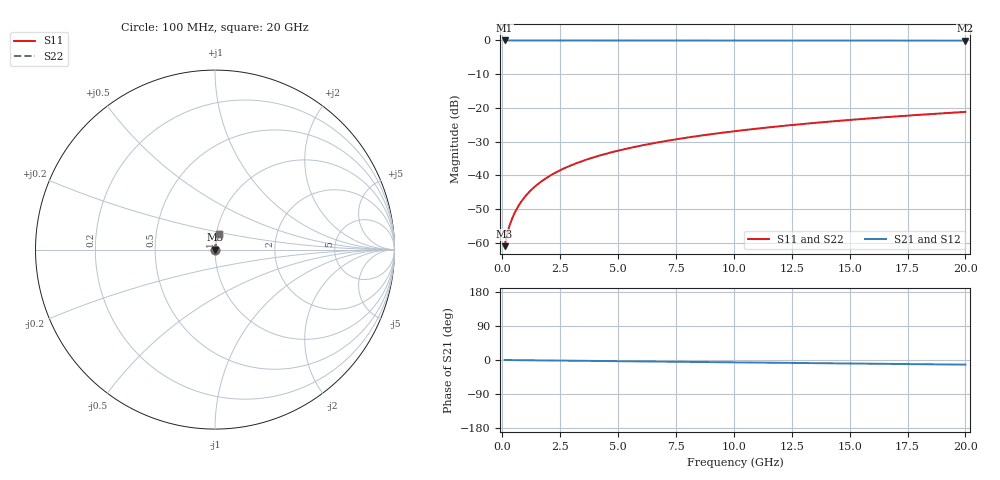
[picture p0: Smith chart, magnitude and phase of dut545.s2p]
! Touchstone file exported from HFSS 2026.1.0
!  File:  C:/ffzhzh/LocalFiles/Ansys_Project_Files/temp_train_BSMRDL_545_1783015008_55676.aedt
!  Generated:  01:58:23 AM Jul  3, 2026
!  Design:  BSMRDL
!  Project:  temp_train_BSMRDL_545_1783015008_55676
! Variables:
!  h_bsmrdl = 4.75um
!  h_ox = 20um
!  h_rdl = 5um
!  h_sub = 80um
!  h_tmrdl = 5um
!  h_tsv = 80um
!  h_via = 3um
!  l_bsmrdl = 172.53um
!  l_sub = 572.53um
!  l_tmrdl = 200um
!  m_sub = 200um
!  pitch = 41.38um
!  r_tsv = 6um
!  s_tmrdl = 10um
!  w_bsmrdl = 25.58um
!  w_sub = 500um
!  w_tmrdl = 12um
!  x_tsv_center1 = 206um
!  x_tsv_center2 = 404.11um
!  x_tsv_center3 = 616.11um
!  x_tsv_center4 = 814.22um
!  x_tsv_center5 = 1026.22um
!  x_tsv_center6 = 1224.33um
# GHz S MA R 50.000000
! Terminal data exported
! Port[1] = BSM_RDL1_1_T1
! Port[2] = BSM_RDL1_1_T2
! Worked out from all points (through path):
!   200 points, 100 MHz to 20 GHz, reference 50 ohm
!   highest |S21| = -0.01 dB at 100 MHz (marker M1); lowest = -0.1 dB at 20 GHz (marker M2)
!   group delay of S21, straight-line fit = 1.7 ps
!   lowest |S11| = -61.0 dB at 100 MHz (marker M3), VSWR 1.00, Z = 50.1 + j0.0558 ohm
!   |S11| at or under -10 dB: start of sweep to end of sweep
!   |S22| runs from -61.0 to -21.2 dB; largest |S21 - S12| = 2.7e-15
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0.1  0.0008873 38.9  0.9993 -0.1  0.9993 -0.1  0.0008873 38.9
! Gamma 0 0 0 0
! Port Impedance 50 0 50 0
0.2  0.001303 54.6  0.9992 -0.1  0.9992 -0.1  0.001303 54.6
0.3  0.001734 62.4  0.9992 -0.2  0.9992 -0.2  0.001734 62.4
0.4  0.00217 67.2  0.9992 -0.3  0.9992 -0.3  0.00217 67.2
0.5  0.002613 70.6  0.9991 -0.3  0.9991 -0.3  0.002613 70.6
0.6  0.003062 73.1  0.9991 -0.4  0.9991 -0.4  0.003062 73.1
0.8  0.003974 76.4  0.9991 -0.5  0.9991 -0.5  0.003974 76.4
1.1  0.005363 79.2  0.999 -0.7  0.999 -0.7  0.005363 79.2
1.3  0.006294 80.3  0.999 -0.8  0.999 -0.8  0.006294 80.3
1.6  0.007693 81.3  0.9989 -1.0  0.9989 -1.0  0.007693 81.3
2.1  0.01002 82.2  0.9988 -1.3  0.9988 -1.3  0.01002 82.2
2.7  0.01279 82.6  0.9987 -1.7  0.9987 -1.7  0.01279 82.6
3.5  0.01644 82.7  0.9984 -2.2  0.9984 -2.2  0.01644 82.7
4.2  0.01959 82.6  0.9982 -2.6  0.9982 -2.6  0.01959 82.6
5  0.02316 82.3  0.9979 -3.1  0.9979 -3.1  0.02316 82.3
5.9  0.02712 82.0  0.9976 -3.7  0.9976 -3.7  0.02712 82.0
6.8  0.03106 81.6  0.9973 -4.2  0.9973 -4.2  0.03106 81.6
8.3  0.03757 81.0  0.9968 -5.2  0.9968 -5.2  0.03757 81.0
10.1  0.04532 80.2  0.9962 -6.3  0.9962 -6.3  0.04532 80.2
13.4  0.0594 78.6  0.995 -8.3  0.995 -8.3  0.0594 78.6
16.7  0.07332 76.9  0.9936 -10.3  0.9936 -10.3  0.07332 76.9
20  0.08706 75.1  0.9922 -12.3  0.9922 -12.3  0.08706 75.1
